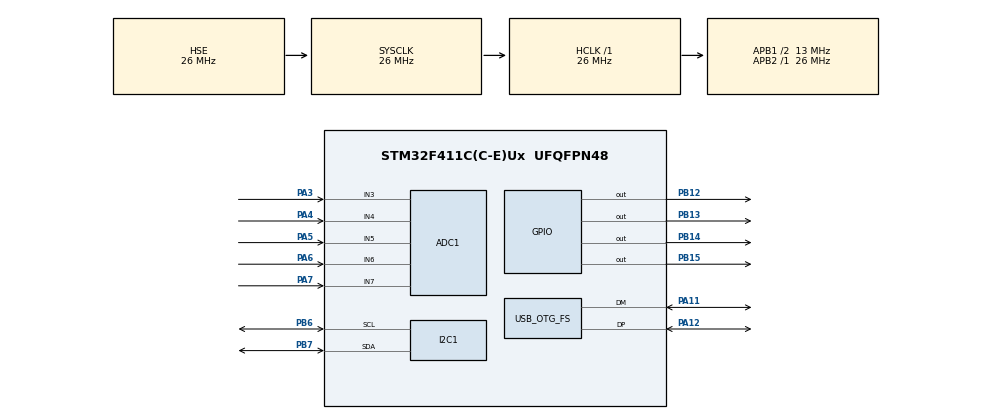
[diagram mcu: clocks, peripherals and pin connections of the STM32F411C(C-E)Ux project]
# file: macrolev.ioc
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ADC1.Channel-0\#ChannelRegularConversion=ADC_CHANNEL_3
ADC1.DiscontinuousConvMode=DISABLE
ADC1.InjNumberOfConversion=0
ADC1.NbrOfConversion=1
ADC1.NbrOfConversionFlag=1
ADC1.Rank-0\#ChannelRegularConversion=1
ADC1.SamplingTime-0\#ChannelRegularConversion=ADC_SAMPLETIME_3CYCLES
ADC1.master=1
Mcu.Family=STM32F4
Mcu.Name=STM32F411C(C-E)Ux
Mcu.Package=UFQFPN48
NVIC.OTG_FS_IRQn=true\:0\:0\:false\:false\:true\:true\:true\:true
NVIC.PriorityGroup=NVIC_PRIORITYGROUP_4
PA11.Mode=Device_Only
PA11.Signal=USB_OTG_FS_DM
PA12.Mode=Device_Only
PA12.Signal=USB_OTG_FS_DP
PA13.Signal=SYS_JTMS-SWDIO
PA14.Signal=SYS_JTCK-SWCLK
PA3.Signal=ADCx_IN3
PA4.Signal=ADCx_IN4
PA5.Signal=ADCx_IN5
PA6.Signal=ADCx_IN6
PA7.Signal=ADCx_IN7
PB12.Signal=GPIO_Output
PB13.Signal=GPIO_Output
PB14.Signal=GPIO_Output
PB15.Signal=GPIO_Output
PB6.GPIO_Pu=GPIO_PULLUP
PB6.Mode=I2C
PB6.Signal=I2C1_SCL
PB7.GPIO_Pu=GPIO_PULLUP
PB7.Mode=I2C
PB7.Signal=I2C1_SDA
PH0\ -\ OSC_IN.Mode=HSE-External-Oscillator
PH0\ -\ OSC_IN.Signal=RCC_OSC_IN
PH1\ -\ OSC_OUT.Mode=HSE-External-Oscillator
PH1\ -\ OSC_OUT.Signal=RCC_OSC_OUT
ProjectManager.HeapSize=0x200
ProjectManager.StackSize=0x400
ProjectManager.TargetToolchain=STM32CubeIDE
RCC.48MHZClocksFreq_Value=48000000
RCC.AHBFreq_Value=26000000
RCC.APB1CLKDivider=RCC_HCLK_DIV2
RCC.APB1Freq_Value=13000000
RCC.APB1TimFreq_Value=26000000
RCC.APB2Freq_Value=26000000
RCC.APB2TimFreq_Value=26000000
RCC.CortexFreq_Value=26000000
RCC.HCLKFreq_Value=26000000
RCC.HSE_VALUE=26000000
RCC.HSI_VALUE=16000000
RCC.LSE_VALUE=32768
RCC.PLLM=13
RCC.PLLN=120
RCC.PLLP=RCC_PLLP_DIV4
RCC.PLLQ=5
RCC.SYSCLKFreq_VALUE=26000000
RCC.SYSCLKSource=RCC_SYSCLKSOURCE_HSE
RCC.VCOOutputFreq_Value=240000000
SH.ADCx_IN3.0=ADC1_IN3,IN3
SH.ADCx_IN4.0=ADC1_IN4,IN4
SH.ADCx_IN5.0=ADC1_IN5,IN5
SH.ADCx_IN6.0=ADC1_IN6,IN6
SH.ADCx_IN7.0=ADC1_IN7,IN7
USB_OTG_FS.VirtualMode=Device_Only
board=custom

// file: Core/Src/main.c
/* USER CODE BEGIN Header */
/**
 ******************************************************************************
 * @file           : main.c
 * @brief          : Main program body
 ******************************************************************************
 * @attention
 *
 * Copyright (c) 2023 STMicroelectronics.
 * All rights reserved.
 *
 * This software is licensed under terms that can be found in the LICENSE file
 * in the root directory of this software component.
 * If no LICENSE file comes with this software, it is provided AS-IS.
 *
 ******************************************************************************
 */
/* USER CODE END Header */
#include "main.h"

/* USER CODE BEGIN Includes */
#include "DRV2605L.h"
#include "config.h"
#include "hid.h"
#include "keyboard.h"
#include <string.h>

/* USER CODE END Includes */

/* USER CODE BEGIN PD */

#define IS_DRV2605_ENABLED false

/* USER CODE END PD */

ADC_HandleTypeDef hadc1;

I2C_HandleTypeDef hi2c1;

PCD_HandleTypeDef hpcd_USB_OTG_FS;

/* USER CODE BEGIN PV */
ADC_ChannelConfTypeDef ADC_channel_Config = {0};

extern struct user_config keyboard_user_config;

const uint32_t adc_channels[ADC_CHANNEL_COUNT] = {ADC_CHANNEL_3, ADC_CHANNEL_4, ADC_CHANNEL_5, ADC_CHANNEL_6, ADC_CHANNEL_7};
const uint32_t amux_select_pins[AMUX_SELECT_PINS_COUNT] = {GPIO_PIN_12, GPIO_PIN_13, GPIO_PIN_14, GPIO_PIN_15};

/* USER CODE END PV */

void SystemClock_Config(void);
static void MX_GPIO_Init(void);
static void MX_ADC1_Init(void);
static void MX_USB_OTG_FS_PCD_Init(void);
#if IS_DRV2605_ENABLED
static void MX_I2C1_Init(void);
#endif

/* USER CODE BEGIN 0 */

uint8_t readRegister8(uint8_t reg) {
  uint8_t buffer[1] = {reg};
  HAL_I2C_Master_Transmit(&hi2c1, DRV2605_ADDR << 1, buffer, 1, 1000);
  HAL_I2C_Master_Receive(&hi2c1, DRV2605_ADDR << 1, buffer, 1, 1000);
  return buffer[0];
}

void writeRegister8(uint8_t reg, uint8_t val) {
  uint8_t buffer[2] = {reg, val};
  HAL_I2C_Master_Transmit(&hi2c1, DRV2605_ADDR << 1, buffer, sizeof(buffer), 1);
}

void DRV2605_init() {
  writeRegister8(DRV2605_REG_MODE, 0x00); // out of standby

  writeRegister8(DRV2605_REG_RTPIN, 0x00); // no real-time-playback

  writeRegister8(DRV2605_REG_WAVESEQ1, 1); // strong click
  writeRegister8(DRV2605_REG_WAVESEQ2, 0); // end sequence

  writeRegister8(DRV2605_REG_OVERDRIVE, 1); // no overdrive

  writeRegister8(DRV2605_REG_SUSTAINPOS, 0);
  writeRegister8(DRV2605_REG_SUSTAINNEG, 0);
  writeRegister8(DRV2605_REG_BREAK, 0);
  writeRegister8(DRV2605_REG_AUDIOMAX, 0x64);

  // ERM open loop

  // turn on N_ERM_LRA
  writeRegister8(DRV2605_REG_FEEDBACK,
                 readRegister8(DRV2605_REG_FEEDBACK) | 0x80);

  // // turn off N_ERM_LRA
  // writeRegister8(DRV2605_REG_FEEDBACK,
  //                readRegister8(DRV2605_REG_FEEDBACK) & 0x7F);
  // // turn on ERM_OPEN_LOOP
  // writeRegister8(DRV2605_REG_CONTROL3,
  //                readRegister8(DRV2605_REG_CONTROL3) | 0x20);

  writeRegister8(DRV2605_REG_LIBRARY, 1);
  writeRegister8(DRV2605_REG_MODE, DRV2605_MODE_INTTRIG);
}
/* USER CODE END 0 */

int main(void) {

  /* MCU Configuration--------------------------------------------------------*/

  /* Reset of all peripherals, Initializes the Flash interface and the Systick. */
  HAL_Init();

  /* Configure the system clock */
  SystemClock_Config();

  /* Initialize all configured peripherals */
  MX_GPIO_Init();
  MX_ADC1_Init();
  MX_USB_OTG_FS_PCD_Init();
#if IS_DRV2605_ENABLED
  MX_I2C1_Init();
#endif
  /* USER CODE BEGIN 2 */

  ADC_channel_Config.Rank = 1;
  ADC_channel_Config.SamplingTime = ADC_SAMPLETIME_3CYCLES;
  keyboard_init_keys();

  hid_init();
#if IS_DRV2605_ENABLED
  drv2605l_init();
#endif

  /* USER CODE END 2 */

  /* Infinite loop */
  /* USER CODE BEGIN WHILE */
  while (1) {
    // MARK: Main loop
    keyboard_task();

    hid_task();

#if IS_DRV2605_ENABLED
    if (key_triggered) {
      writeRegister8(DRV2605_REG_WAVESEQ1 + 0, 1);
      writeRegister8(DRV2605_REG_WAVESEQ1 + 1, 0);
      writeRegister8(DRV2605_REG_GO, 1);
    }
#endif
    /* USER CODE END WHILE */

  }
}

void SystemClock_Config(void) {
  RCC_OscInitTypeDef RCC_OscInitStruct = {0};
  RCC_ClkInitTypeDef RCC_ClkInitStruct = {0};

  /** Configure the main internal regulator output voltage
   */
  __HAL_RCC_PWR_CLK_ENABLE();
  __HAL_PWR_VOLTAGESCALING_CONFIG(PWR_REGULATOR_VOLTAGE_SCALE1);

  /** Initializes the RCC Oscillators according to the specified parameters
   * in the RCC_OscInitTypeDef structure.
   */
  RCC_OscInitStruct.OscillatorType = RCC_OSCILLATORTYPE_HSE;
  RCC_OscInitStruct.HSEState = RCC_HSE_ON;
  RCC_OscInitStruct.PLL.PLLState = RCC_PLL_ON;
  RCC_OscInitStruct.PLL.PLLSource = RCC_PLLSOURCE_HSE;
  RCC_OscInitStruct.PLL.PLLM = 13;
  RCC_OscInitStruct.PLL.PLLN = 120;
  RCC_OscInitStruct.PLL.PLLP = RCC_PLLP_DIV4;
  RCC_OscInitStruct.PLL.PLLQ = 5;
  if (HAL_RCC_OscConfig(&RCC_OscInitStruct) != HAL_OK) {
    Error_Handler();
  }

  /** Initializes the CPU, AHB and APB buses clocks
   */
  RCC_ClkInitStruct.ClockType = RCC_CLOCKTYPE_HCLK | RCC_CLOCKTYPE_SYSCLK | RCC_CLOCKTYPE_PCLK1 | RCC_CLOCKTYPE_PCLK2;
  RCC_ClkInitStruct.SYSCLKSource = RCC_SYSCLKSOURCE_HSE;
  RCC_ClkInitStruct.AHBCLKDivider = RCC_SYSCLK_DIV1;
  RCC_ClkInitStruct.APB1CLKDivider = RCC_HCLK_DIV2;
  RCC_ClkInitStruct.APB2CLKDivider = RCC_HCLK_DIV1;

  if (HAL_RCC_ClockConfig(&RCC_ClkInitStruct, FLASH_LATENCY_0) != HAL_OK) {
    Error_Handler();
  }
}

static void MX_ADC1_Init(void) {

  ADC_ChannelConfTypeDef sConfig = {0};

  /** Configure the global features of the ADC (Clock, Resolution, Data Alignment and number of conversion)
   */
  hadc1.Instance = ADC1;
  hadc1.Init.ClockPrescaler = ADC_CLOCK_SYNC_PCLK_DIV2;
  hadc1.Init.Resolution = ADC_RESOLUTION_12B;
  hadc1.Init.ScanConvMode = DISABLE;
  hadc1.Init.ContinuousConvMode = DISABLE;
  hadc1.Init.DiscontinuousConvMode = DISABLE;
  hadc1.Init.ExternalTrigConvEdge = ADC_EXTERNALTRIGCONVEDGE_NONE;
  hadc1.Init.ExternalTrigConv = ADC_SOFTWARE_START;
  hadc1.Init.DataAlign = ADC_DATAALIGN_RIGHT;
  hadc1.Init.NbrOfConversion = 1;
  hadc1.Init.DMAContinuousRequests = DISABLE;
  hadc1.Init.EOCSelection = ADC_EOC_SINGLE_CONV;
  if (HAL_ADC_Init(&hadc1) != HAL_OK) {
    Error_Handler();
  }

  /** Configure for the selected ADC regular channel its corresponding rank in the sequencer and its sample time.
   */
  sConfig.Channel = ADC_CHANNEL_3;
  sConfig.Rank = 1;
  sConfig.SamplingTime = ADC_SAMPLETIME_3CYCLES;
  if (HAL_ADC_ConfigChannel(&hadc1, &sConfig) != HAL_OK) {
    Error_Handler();
  }
  /* USER CODE BEGIN ADC1_Init 2 */

  // memcpy(&ADC_channel_Config, &sConfig, sizeof(ADC_ChannelConfTypeDef));

  /* USER CODE END ADC1_Init 2 */
}

#if IS_DRV2605_ENABLED
static void MX_I2C1_Init(void) {

  hi2c1.Instance = I2C1;
  hi2c1.Init.ClockSpeed = 100000;
  hi2c1.Init.DutyCycle = I2C_DUTYCYCLE_2;
  hi2c1.Init.OwnAddress1 = 0;
  hi2c1.Init.AddressingMode = I2C_ADDRESSINGMODE_7BIT;
  hi2c1.Init.DualAddressMode = I2C_DUALADDRESS_DISABLE;
  hi2c1.Init.OwnAddress2 = 0;
  hi2c1.Init.GeneralCallMode = I2C_GENERALCALL_DISABLE;
  hi2c1.Init.NoStretchMode = I2C_NOSTRETCH_DISABLE;
  if (HAL_I2C_Init(&hi2c1) != HAL_OK) {
    Error_Handler();
  }
}
#endif

static void MX_USB_OTG_FS_PCD_Init(void) {

  hpcd_USB_OTG_FS.Instance = USB_OTG_FS;
  hpcd_USB_OTG_FS.Init.dev_endpoints = 4;
  hpcd_USB_OTG_FS.Init.speed = PCD_SPEED_FULL;
  hpcd_USB_OTG_FS.Init.dma_enable = DISABLE;
  hpcd_USB_OTG_FS.Init.phy_itface = PCD_PHY_EMBEDDED;
  hpcd_USB_OTG_FS.Init.Sof_enable = DISABLE;
  hpcd_USB_OTG_FS.Init.low_power_enable = DISABLE;
  hpcd_USB_OTG_FS.Init.lpm_enable = DISABLE;
  hpcd_USB_OTG_FS.Init.vbus_sensing_enable = DISABLE;
  hpcd_USB_OTG_FS.Init.use_dedicated_ep1 = DISABLE;
  if (HAL_PCD_Init(&hpcd_USB_OTG_FS) != HAL_OK) {
    Error_Handler();
  }
}

static void MX_GPIO_Init(void) {
  GPIO_InitTypeDef GPIO_InitStruct = {0};

  /* GPIO Ports Clock Enable */
  __HAL_RCC_GPIOH_CLK_ENABLE();
  __HAL_RCC_GPIOA_CLK_ENABLE();
  __HAL_RCC_GPIOB_CLK_ENABLE();

  /*Configure GPIO pin Output Level */
  HAL_GPIO_WritePin(GPIOB, GPIO_PIN_12 | GPIO_PIN_13 | GPIO_PIN_14 | GPIO_PIN_15, GPIO_PIN_RESET);

  /*Configure GPIO pins : PB12 PB13 PB14 PB15 */
  GPIO_InitStruct.Pin = GPIO_PIN_12 | GPIO_PIN_13 | GPIO_PIN_14 | GPIO_PIN_15;
  GPIO_InitStruct.Mode = GPIO_MODE_OUTPUT_PP;
  GPIO_InitStruct.Pull = GPIO_NOPULL;
  GPIO_InitStruct.Speed = GPIO_SPEED_FREQ_LOW;
  HAL_GPIO_Init(GPIOB, &GPIO_InitStruct);

}

/* USER CODE BEGIN 4 */

// MARK: keyboard_* functions

void keyboard_read_config() {
  memcpy(&keyboard_user_config, (uint32_t *)CONFIG_ADDRESS, sizeof(keyboard_user_config));
}

uint8_t keyboard_write_config(uint8_t *buffer, uint16_t offset, uint16_t size) {
  if (offset >= sizeof(keyboard_user_config)) {
    return 0;
  }

  HAL_FLASH_Unlock();
  __HAL_FLASH_CLEAR_FLAG(FLASH_FLAG_EOP | FLASH_FLAG_OPERR | FLASH_FLAG_WRPERR | FLASH_FLAG_PGAERR | FLASH_FLAG_PGSERR);
  FLASH_Erase_Sector(FLASH_SECTOR_6, VOLTAGE_RANGE_3);
  for (uint16_t i = offset; i < size; i++) {
    if (HAL_FLASH_Program(FLASH_TYPEPROGRAM_BYTE, CONFIG_ADDRESS + i, buffer[i]) != HAL_OK) {
      HAL_FLASH_Lock();
    };
  }
  HAL_FLASH_Lock();
  return 1;
}

void keyboard_select_amux(uint8_t amux_channel) {
  uint16_t gpio_amux = GPIOB->ODR;
  gpio_amux &= ~(0xF << 12);
  gpio_amux |= (amux_channel & 0xF) << 12;
  GPIOB->ODR = gpio_amux;
}

void keyboard_select_adc(uint8_t adc_channel) {
  ADC1->SQR3 = adc_channels[adc_channel];
  ADC1->CR2 |= ADC_CR2_SWSTART;
  while (!(ADC1->SR & ADC_SR_EOC))
    ;
}

uint16_t keyboard_read_adc() {
  return hadc1.Instance->DR;
}

void keyboard_close_adc() {
  HAL_ADC_Stop(&hadc1);
}

uint32_t keyboard_get_time() {
  return HAL_GetTick();
}

/* USER CODE END 4 */

void Error_Handler(void) {
  __disable_irq();
  while (1) {
  }
}
